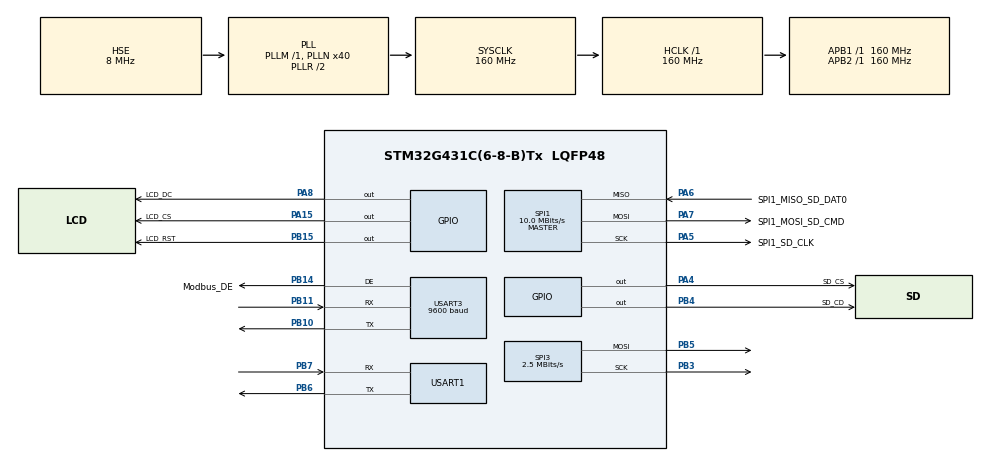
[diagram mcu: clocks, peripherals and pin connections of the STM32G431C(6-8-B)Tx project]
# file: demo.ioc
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Dma.Request0=SPI1_RX
Dma.Request1=SPI1_TX
Dma.Request2=USART3_RX
Dma.SPI1_RX.0.Direction=DMA_PERIPH_TO_MEMORY
Dma.SPI1_RX.0.EventEnable=DISABLE
Dma.SPI1_RX.0.Instance=DMA1_Channel1
Dma.SPI1_RX.0.MemDataAlignment=DMA_MDATAALIGN_BYTE
Dma.SPI1_RX.0.MemInc=DMA_MINC_ENABLE
Dma.SPI1_RX.0.Mode=DMA_CIRCULAR
Dma.SPI1_RX.0.PeriphDataAlignment=DMA_PDATAALIGN_BYTE
Dma.SPI1_RX.0.PeriphInc=DMA_PINC_DISABLE
Dma.SPI1_RX.0.Polarity=HAL_DMAMUX_REQ_GEN_RISING
Dma.SPI1_RX.0.Priority=DMA_PRIORITY_LOW
Dma.SPI1_RX.0.RequestNumber=1
Dma.SPI1_RX.0.SignalID=NONE
Dma.SPI1_RX.0.SyncEnable=DISABLE
Dma.SPI1_RX.0.SyncPolarity=HAL_DMAMUX_SYNC_NO_EVENT
Dma.SPI1_RX.0.SyncRequestNumber=1
Dma.SPI1_RX.0.SyncSignalID=NONE
Dma.SPI1_TX.1.Direction=DMA_MEMORY_TO_PERIPH
Dma.SPI1_TX.1.EventEnable=DISABLE
Dma.SPI1_TX.1.Instance=DMA1_Channel2
Dma.SPI1_TX.1.MemDataAlignment=DMA_MDATAALIGN_BYTE
Dma.SPI1_TX.1.MemInc=DMA_MINC_ENABLE
Dma.SPI1_TX.1.Mode=DMA_CIRCULAR
Dma.SPI1_TX.1.PeriphDataAlignment=DMA_PDATAALIGN_BYTE
Dma.SPI1_TX.1.PeriphInc=DMA_PINC_DISABLE
Dma.SPI1_TX.1.Polarity=HAL_DMAMUX_REQ_GEN_RISING
Dma.SPI1_TX.1.Priority=DMA_PRIORITY_LOW
Dma.SPI1_TX.1.RequestNumber=1
Dma.SPI1_TX.1.SignalID=NONE
Dma.SPI1_TX.1.SyncEnable=DISABLE
Dma.SPI1_TX.1.SyncPolarity=HAL_DMAMUX_SYNC_NO_EVENT
Dma.SPI1_TX.1.SyncRequestNumber=1
Dma.SPI1_TX.1.SyncSignalID=NONE
Dma.USART3_RX.2.Direction=DMA_PERIPH_TO_MEMORY
Dma.USART3_RX.2.EventEnable=DISABLE
Dma.USART3_RX.2.Instance=DMA1_Channel3
Dma.USART3_RX.2.MemDataAlignment=DMA_MDATAALIGN_BYTE
Dma.USART3_RX.2.MemInc=DMA_MINC_ENABLE
Dma.USART3_RX.2.Mode=DMA_NORMAL
Dma.USART3_RX.2.PeriphDataAlignment=DMA_PDATAALIGN_BYTE
Dma.USART3_RX.2.PeriphInc=DMA_PINC_DISABLE
Dma.USART3_RX.2.Polarity=HAL_DMAMUX_REQ_GEN_RISING
Dma.USART3_RX.2.Priority=DMA_PRIORITY_LOW
Dma.USART3_RX.2.RequestNumber=1
Dma.USART3_RX.2.SignalID=NONE
Dma.USART3_RX.2.SyncEnable=DISABLE
Dma.USART3_RX.2.SyncPolarity=HAL_DMAMUX_SYNC_NO_EVENT
Dma.USART3_RX.2.SyncRequestNumber=1
Dma.USART3_RX.2.SyncSignalID=NONE
FATFS._MAX_SS=4096
FATFS._USE_LFN=1
Mcu.Family=STM32G4
Mcu.Name=STM32G431C(6-8-B)Tx
Mcu.Package=LQFP48
NVIC.DMA1_Channel1_IRQn=true\:0\:0\:false\:false\:true\:false\:true\:true
NVIC.DMA1_Channel2_IRQn=true\:0\:0\:false\:false\:true\:false\:true\:true
NVIC.DMA1_Channel3_IRQn=true\:0\:0\:false\:false\:true\:false\:true\:true
NVIC.PriorityGroup=NVIC_PRIORITYGROUP_4
NVIC.USART1_IRQn=true\:0\:0\:false\:false\:true\:true\:true\:true
NVIC.USART3_IRQn=true\:0\:0\:false\:false\:true\:true\:true\:true
PA15.GPIO_Label=LCD_CS
PA15.Signal=GPIO_Output
PA4.GPIO_Label=SD_CS
PA4.GPIO_Speed=GPIO_SPEED_FREQ_MEDIUM
PA4.PinState=GPIO_PIN_SET
PA4.Signal=GPIO_Output
PA5.GPIO_Label=SPI1_SD_CLK
PA5.GPIO_Speed=GPIO_SPEED_FREQ_VERY_HIGH
PA5.Mode=Full_Duplex_Master
PA5.Signal=SPI1_SCK
PA6.GPIO_Label=SPI1_MISO_SD_DAT0
PA6.GPIO_Speed=GPIO_SPEED_FREQ_VERY_HIGH
PA6.Mode=Full_Duplex_Master
PA6.Signal=SPI1_MISO
PA7.GPIO_Label=SPI1_MOSI_SD_CMD
PA7.GPIO_Speed=GPIO_SPEED_FREQ_VERY_HIGH
PA7.Mode=Full_Duplex_Master
PA7.Signal=SPI1_MOSI
PA8.GPIO_Label=LCD_DC
PA8.Signal=GPIO_Output
PB10.Mode=Asynchronous
PB10.Signal=USART3_TX
PB11.Mode=Asynchronous
PB11.Signal=USART3_RX
PB14.GPIO_Label=Modbus_DE
PB14.Mode=Hardware Flow Control (RS485)
PB14.Signal=USART3_DE
PB15.GPIO_Label=LCD_RST
PB15.Signal=GPIO_Output
PB3.Mode=TX_Only_Simplex_Unidirect_Master
PB3.Signal=SPI3_SCK
PB4.GPIO_Label=SD_CD
PB4.GPIO_Speed=GPIO_SPEED_FREQ_MEDIUM
PB4.PinState=GPIO_PIN_SET
PB4.Signal=GPIO_Output
PB5.Mode=TX_Only_Simplex_Unidirect_Master
PB5.Signal=SPI3_MOSI
PB6.Mode=Asynchronous
PB6.Signal=USART1_TX
PB7.Mode=Asynchronous
PB7.Signal=USART1_RX
PF0-OSC_IN.Mode=HSE-External-Oscillator
PF0-OSC_IN.Signal=RCC_OSC_IN
PF1-OSC_OUT.Mode=HSE-External-Oscillator
PF1-OSC_OUT.Signal=RCC_OSC_OUT
ProjectManager.HeapSize=0x200
ProjectManager.StackSize=0x400
ProjectManager.TargetToolchain=STM32CubeIDE
RCC.ADC12Freq_Value=160000000
RCC.AHBFreq_Value=160000000
RCC.APB1Freq_Value=160000000
RCC.APB1TimFreq_Value=160000000
RCC.APB2Freq_Value=160000000
RCC.APB2TimFreq_Value=160000000
RCC.CK48CLockSelection=RCC_USBCLKSOURCE_HSI48
RCC.CortexFreq_Value=160000000
RCC.EXTERNAL_CLOCK_VALUE=12288000
RCC.HCLKFreq_Value=160000000
RCC.HSE_VALUE=8000000
RCC.HSI48_VALUE=48000000
RCC.HSI_VALUE=16000000
RCC.LSE_VALUE=32768
RCC.PLLN=40
RCC.PLLSourceVirtual=RCC_PLLSOURCE_HSE
RCC.SYSCLKFreq_VALUE=160000000
RCC.SYSCLKSource=RCC_SYSCLKSOURCE_PLLCLK
RCC.USBFreq_Value=48000000
RCC.VCOOutputFreq_Value=320000000
SPI1.BaudRatePrescaler=SPI_BAUDRATEPRESCALER_16
SPI1.CalculateBaudRate=10.0 MBits/s
SPI1.DataSize=SPI_DATASIZE_8BIT
SPI1.Direction=SPI_DIRECTION_2LINES
SPI1.Mode=SPI_MODE_MASTER
SPI1.VirtualType=VM_MASTER
SPI3.BaudRatePrescaler=SPI_BAUDRATEPRESCALER_64
SPI3.CalculateBaudRate=2.5 MBits/s
SPI3.DataSize=SPI_DATASIZE_8BIT
SPI3.Direction=SPI_DIRECTION_2LINES
SPI3.Mode=SPI_MODE_MASTER
SPI3.VirtualType=VM_MASTER
USART1.VirtualMode-Asynchronous=VM_ASYNC
USART3.BaudRate=9600
USART3.VirtualMode-Asynchronous=VM_ASYNC
USART3.VirtualMode-Hardware\ Flow\ Control\ (RS485)=VM_ASYNC
VP_FATFS_VS_Generic.Mode=User_defined
VP_SYS_VS_DBSignals.Mode=DisableDeadBatterySignals
board=custom

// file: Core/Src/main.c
/* USER CODE BEGIN Header */
/**
 ******************************************************************************
 * @file           : main.c
 * @brief          : SD 카드 마운트 & 파일 입출력 (SPI + FatFs) + OLED 표시 데모
 ******************************************************************************
 * @attention
 *
 * Copyright (c) 2025 STMicroelectronics.
 * All rights reserved.
 *
 * This software is licensed under terms that can be found in the LICENSE file
 * in the root directory of this software component.
 * If no LICENSE file comes with this software, it is provided AS-IS.
 *
 ******************************************************************************
 */

/*
 *
 */
/* USER CODE END Header */

#include "main.h"
#include "dma.h"
#include "app_fatfs.h"
#include "spi.h"
#include "usart.h"
#include "gpio.h"

/* USER CODE BEGIN Includes */
#include <stdio.h>
#include <stdlib.h>
#include <string.h>
#include "SD/sd_func.h"
#include "User/user_func.h"
#include "ap/ap_sensor.h"
#include "oled_eyes.h"
#include "expression.h"

#include "modbus_def.h"
/* USER CODE END Includes */

static wind_sensor_t wind_sensor;

/* USER CODE BEGIN PV */

// UART 명령 파서용
char rxBuffer[100];       // 입력 라인 버퍼
uint8_t rxIndex = 0;      // 현재 입력 위치
uint8_t commandReady = 0; // 한 줄(엔터) 입력 완료 플래그
volatile uint8_t g_rx;    // UART 수신 1바이트(인터럽트로 채움)

/* USER CODE END PV */

void SystemClock_Config(void);
/* USER CODE BEGIN PFP */
/* SD 카드 및 파일 I/F */

/* USER CODE END PFP */

/* USER CODE BEGIN 0 */

/* printf() → USART1 리다이렉트 */
int __io_putchar(int ch)
{
  (void)HAL_UART_Transmit(&huart1, (uint8_t *)&ch, 1, 100);
  return ch;
}

/* USER CODE END 0 */

int main(void)
{

  /* MCU Configuration--------------------------------------------------------*/

  /* Reset of all peripherals, Initializes the Flash interface and the Systick. */
  HAL_Init();

  /* Configure the system clock */
  SystemClock_Config();

  /* Initialize all configured peripherals */
  MX_GPIO_Init();
  MX_DMA_Init();
  MX_SPI1_Init();
  MX_USART1_UART_Init();
  if (MX_FATFS_Init() != APP_OK)
  {
    Error_Handler();
  }
  MX_SPI3_Init();
  MX_USART3_UART_Init();
  /* USER CODE BEGIN 2 */

  HAL_UART_Receive_IT(&huart1, (uint8_t *)&g_rx, 1);

  sdCardInit();
  if (apOledInit())
  {
    apOledUpdate();

    // apOledTest();
    eyesInit();
    // 시작 애니메이션
    eyesSleep();
    eyesWakeup();
  }
  apSensorInit(&wind_sensor);
  uint32_t animation_timer = 0;
  uint32_t blink_timer = 0;
  int current_animation = 0;

  /* USER CODE END 2 */

  /* Infinite loop */
  /* USER CODE BEGIN WHILE */
  while (1)
  {

    apSensorRequest(&wind_sensor);
    apSensorUpdate(&wind_sensor);

    static uint32_t no_sensor_timer = 0;
    uint32_t current_time = HAL_GetTick();

    if (apSensorIsValid(&wind_sensor))
    {
      float speed = apSensorGetSpeed(&wind_sensor);
      eyesInstantExpression((double)speed);
      no_sensor_timer = current_time; // 센서 유효하면 타이머 리셋
    }
    else
    {
      // 센서 무효 시 2초마다 기본 깜빡임
      if ((current_time - no_sensor_timer) > 2000)
      {
        printf("No sensor - default blink\r\n");
        eyesBlink(12);
        no_sensor_timer = current_time;
      }
    }
    sdIsCardDetected();
    if (commandReady)
    {
      userInput(rxBuffer);
      commandReady = 0;
      printf("Ready> ");
    }

    HAL_Delay(10);

    /* USER CODE END WHILE */

  }
}

void SystemClock_Config(void)
{
  RCC_OscInitTypeDef RCC_OscInitStruct = {0};
  RCC_ClkInitTypeDef RCC_ClkInitStruct = {0};

  /** Configure the main internal regulator output voltage
   */
  HAL_PWREx_ControlVoltageScaling(PWR_REGULATOR_VOLTAGE_SCALE1_BOOST);

  /** Initializes the RCC Oscillators according to the specified parameters
   * in the RCC_OscInitTypeDef structure.
   */
  RCC_OscInitStruct.OscillatorType = RCC_OSCILLATORTYPE_HSE;
  RCC_OscInitStruct.HSEState = RCC_HSE_ON;
  RCC_OscInitStruct.PLL.PLLState = RCC_PLL_ON;
  RCC_OscInitStruct.PLL.PLLSource = RCC_PLLSOURCE_HSE;
  RCC_OscInitStruct.PLL.PLLM = RCC_PLLM_DIV1;
  RCC_OscInitStruct.PLL.PLLN = 40;
  RCC_OscInitStruct.PLL.PLLP = RCC_PLLP_DIV2;
  RCC_OscInitStruct.PLL.PLLQ = RCC_PLLQ_DIV2;
  RCC_OscInitStruct.PLL.PLLR = RCC_PLLR_DIV2;
  if (HAL_RCC_OscConfig(&RCC_OscInitStruct) != HAL_OK)
  {
    Error_Handler();
  }

  /** Initializes the CPU, AHB and APB buses clocks
   */
  RCC_ClkInitStruct.ClockType = RCC_CLOCKTYPE_HCLK | RCC_CLOCKTYPE_SYSCLK | RCC_CLOCKTYPE_PCLK1 | RCC_CLOCKTYPE_PCLK2;
  RCC_ClkInitStruct.SYSCLKSource = RCC_SYSCLKSOURCE_PLLCLK;
  RCC_ClkInitStruct.AHBCLKDivider = RCC_SYSCLK_DIV1;
  RCC_ClkInitStruct.APB1CLKDivider = RCC_HCLK_DIV1;
  RCC_ClkInitStruct.APB2CLKDivider = RCC_HCLK_DIV1;

  if (HAL_RCC_ClockConfig(&RCC_ClkInitStruct, FLASH_LATENCY_4) != HAL_OK)
  {
    Error_Handler();
  }
}

/* USER CODE BEGIN 4 */

void HAL_UART_RxCpltCallback(UART_HandleTypeDef *huart)
{
  if (huart->Instance == USART1)
  {
    if (g_rx == '\r' || g_rx == '\n')
    {
      rxBuffer[rxIndex] = '\0';
      commandReady = 1;
      rxIndex = 0;
      printf("\r\n");
    }
    else if (rxIndex < sizeof(rxBuffer) - 1)
    {
      rxBuffer[rxIndex++] = g_rx;
    }
    HAL_UART_Receive_IT(&huart1, (uint8_t *)&g_rx, 1);
  }
}

void HAL_UARTEx_RxEventCallback(UART_HandleTypeDef *huart, uint16_t Size)
{
  if (huart->Instance == USART3)
  {
    // wind_sensor 구조체에 수신 데이터 설정
    wind_sensor.rx_index = Size;
    wind_sensor.frame_ready = true;

    // 다음 수신을 위해 DMA 재시작
    HAL_UARTEx_ReceiveToIdle_DMA(&huart3, wind_sensor.rx_buffer,
                                 sizeof(wind_sensor.rx_buffer));
  }
}
/* USER CODE END 4 */

void Error_Handler(void)
{
  __disable_irq();
  while (1)
  {
  }
}
